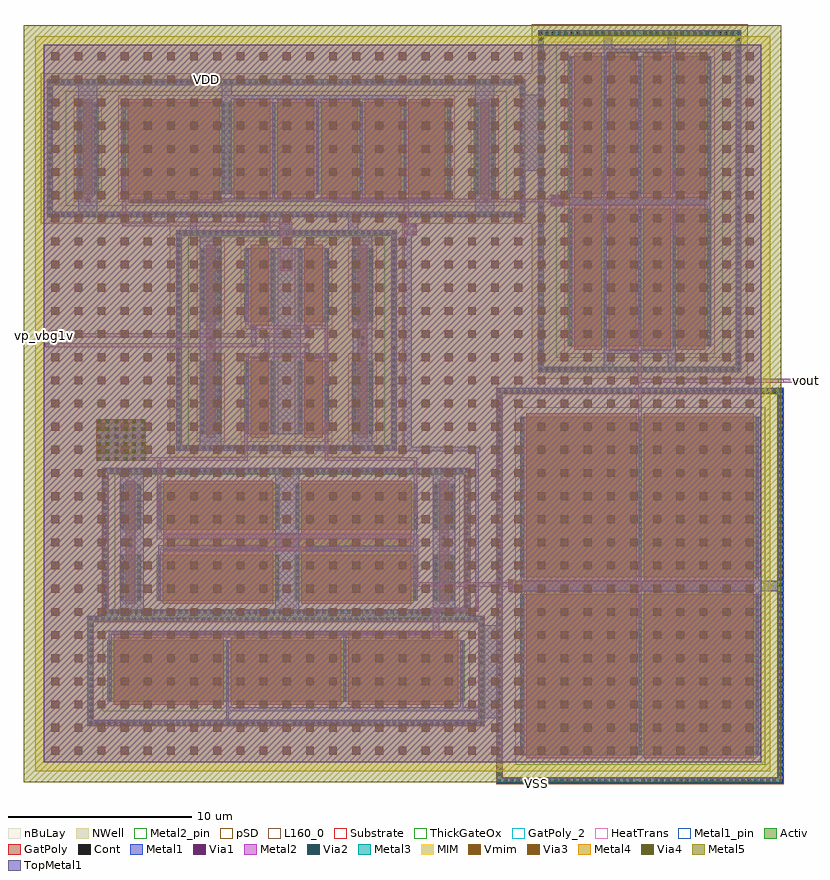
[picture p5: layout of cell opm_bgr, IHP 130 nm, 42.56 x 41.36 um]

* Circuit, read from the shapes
.subckt opm_bgr VDD VSS vn_vbg1v vout vp_vbg1v
XM1 VSS bgr_first_stage_0/bgr_current_diode_3/VbD bgr_first_stage_0/bgr_current_diode_3/VbD VSS sg13_hv_nmos w=3.33u l=6u m=3
XM2 VSS VSS VSS VSS sg13_hv_nmos w=2.5u l=0.5u m=4
XM3 VSS bgr_first_stage_0/bgr_miror_0/REF bgr_first_stage_0/bgr_miror_0/REF VSS sg13_hv_nmos w=2.5u l=6u m=2
XM4 VSS bgr_first_stage_0/bgr_miror_0/REF bgr_first_stage_0/bgr_miror_0/MIR VSS sg13_hv_nmos w=2.5u l=6u m=2
XM5 vout bgr_first_stage_0/bgr_miror_0/MIR VSS VSS sg13_hv_nmos w=8.75u l=6u m=4
XM6 VDD VDD VDD VDD sg13_hv_pmos w=5u l=0.5u m=2
XM7 VDD bgr_first_stage_0/bgr_current_diode_3/VbD bgr_first_stage_0/bgr_diff_1/D VDD sg13_hv_pmos w=5u l=5u
XM8 VDD VDD VDD VDD sg13_hv_pmos w=4u l=0.5u m=4
XM9 bgr_first_stage_0/bgr_current_diode_3/VbD bgr_first_stage_0/bgr_current_diode_3/VbD VDD VDD sg13_hv_pmos w=5u l=2u m=5
XM10 bgr_first_stage_0/bgr_diff_1/D vp_vbg1v bgr_first_stage_0/bgr_miror_0/MIR VDD sg13_hv_pmos w=4u l=1u m=2
XM11 bgr_first_stage_0/bgr_diff_1/D vn_vbg1v bgr_first_stage_0/bgr_miror_0/REF VDD sg13_hv_pmos w=4u l=1u m=2
XM12 VDD bgr_first_stage_0/bgr_current_diode_3/VbD vout VDD sg13_hv_pmos w=7.5u l=1.5u m=8
XC13 n1 bgr_first_stage_0/bgr_miror_0/MIR cap_cmim w=40u l=40u
.ends

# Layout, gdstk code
from math import pi, radians
import gdstk
lib = gdstk.Library(unit=1e-6, precision=1e-09)
def R(c, l, rs):  # rectangles x0, y0, x1, y1
    for r in rs: c.add(gdstk.rectangle(r[:2], r[2:], *l))
def A(c, l, x, y, w, h, nx, ny, dx, dy):  # array of equal rectangles
    R(c, l, [(x+i*dx, y+j*dy, x+i*dx+w, y+j*dy+h) for i in range(nx) for j in range(ny)])
def P(c, l, *ps):  # polygons
    for p in ps: c.add(gdstk.Polygon(p, *l))
Activ = (1, 0)
GatPoly = (5, 0)
GatPoly_2 = (5, 2)
Cont = (6, 0)
Metal1 = (8, 0)
Metal1_pin = (8, 2)
Metal2 = (10, 0)
Metal2_pin = (10, 2)
pSD = (14, 0)
Via1 = (19, 0)
Via2 = (29, 0)
Metal3 = (30, 0)
NWell = (31, 0)
nBuLay = (32, 0)
MIM = (36, 0)
Substrate = (40, 0)
ThickGateOx = (44, 0)
Via3 = (49, 0)
Metal4 = (50, 0)
HeatTrans = (51, 0)
Via4 = (66, 0)
Metal5 = (67, 0)
TopMetal1 = (126, 0)
Vmim = (129, 0)
L160_0 = (160, 0)

nmoshv_5 = lib.new_cell('nmosHV$5')
R(nmoshv_5, Activ, [(0,0,0.3,0.3), (0,0,6.68,2.5), (6.38,0,6.68,0.3)])
R(nmoshv_5, GatPoly, [(0.34,-0.18,6.34,2.68)])
R(nmoshv_5, GatPoly_2, [(0.34,-0.18,6.34,2.68)])
A(nmoshv_5, Cont, 0.07, 0.07, 0.16, 0.16, 1, 3, 0, 0.365)
A(nmoshv_5, Cont, 6.45, 0.07, 0.16, 0.16, 1, 3, 0, 0.365)
A(nmoshv_5, Cont, 0.07, 1.17, 0.16, 0.16, 1, 3, 0, 0.365)
A(nmoshv_5, Cont, 6.45, 1.17, 0.16, 0.16, 1, 3, 0, 0.365)
R(nmoshv_5, Cont, [(0.07,2.27,0.23,2.43), (6.45,2.27,6.61,2.43)])
R(nmoshv_5, Metal1, [(0.07,0,0.23,2.5), (6.45,0,6.61,2.5)])
R(nmoshv_5, Metal1_pin, [(0.07,0,0.23,2.5), (6.45,0,6.61,2.5)])
R(nmoshv_5, ThickGateOx, [(-0.27,-0.52,6.95,3.02)])
R(nmoshv_5, HeatTrans, [(0.34,-0.18,6.34,2.68)])
nmoshv_5.add(gdstk.Label('nmosHV', (3.34,1.25), layer=63, texttype=0))
nmoshv_5.add(gdstk.Label('nmosHV', (3.34,1.25), layer=51, texttype=0))

nmoshv_6 = lib.new_cell('nmosHV$6')
R(nmoshv_6, Activ, [(0,0,0.3,0.3), (0,0,1.18,2.5), (0.88,0,1.18,0.3)])
R(nmoshv_6, GatPoly, [(0.34,-0.18,0.84,2.68)])
R(nmoshv_6, GatPoly_2, [(0.34,-0.18,0.84,2.68)])
A(nmoshv_6, Cont, 0.07, 0.07, 0.16, 0.16, 1, 3, 0, 0.365)
A(nmoshv_6, Cont, 0.95, 0.07, 0.16, 0.16, 1, 3, 0, 0.365)
A(nmoshv_6, Cont, 0.07, 1.17, 0.16, 0.16, 1, 3, 0, 0.365)
A(nmoshv_6, Cont, 0.95, 1.17, 0.16, 0.16, 1, 3, 0, 0.365)
R(nmoshv_6, Cont, [(0.07,2.27,0.23,2.43), (0.95,2.27,1.11,2.43)])
R(nmoshv_6, Metal1, [(0.07,0,0.23,2.5), (0.95,0,1.11,2.5)])
R(nmoshv_6, Metal1_pin, [(0.07,0,0.23,2.5), (0.95,0,1.11,2.5)])
R(nmoshv_6, ThickGateOx, [(-0.27,-0.52,1.45,3.02)])
R(nmoshv_6, HeatTrans, [(0.34,-0.18,0.84,2.68)])
nmoshv_6.add(gdstk.Label('nmosHV', (0.59,1.25), layer=63, texttype=0))
nmoshv_6.add(gdstk.Label('nmosHV', (0.59,1.25), layer=51, texttype=0))

via_stack_37 = lib.new_cell('via_stack$37')
R(via_stack_37, Metal1, [(-0.105,-0.35,0.105,0.35)])
R(via_stack_37, Metal2, [(-0.1,-0.35,0.1,0.35)])
R(via_stack_37, Via1, [(-0.095,-0.3,0.095,-0.11), (-0.095,0.11,0.095,0.3)])

via_stack_50 = lib.new_cell('via_stack$50')
R(via_stack_50, GatPoly, [(-0.83,-0.15,0.83,0.15)])
A(via_stack_50, Cont, -0.76, -0.08, 0.16, 0.16, 5, 1, 0.34, 0)
R(via_stack_50, Metal1, [(-0.965,-0.105,0.965,0.105)])
R(via_stack_50, Metal2, [(-0.965,-0.1,0.965,0.1)])
A(via_stack_50, Via1, -0.915, -0.095, 0.19, 0.19, 5, 1, 0.41, 0)

guard_ring_2 = lib.new_cell('guard_ring$2')
R(guard_ring_2, Activ, [(-10,-3.7,-9.7,3.7), (9.7,-3.7,10,3.7), (-10,3.7,10,4)])
P(guard_ring_2, Activ, [(-10,-4),(-10,3.7),(-9.7,3.7),(-9.7,-3.7),(9.7,-3.7),(9.7,3.7),(-10,3.7),(-10,4),(10,4),(10,-4)])
A(guard_ring_2, Cont, -9.93, -3.93, 0.16, 0.16, 29, 2, 0.34, 7.7)
A(guard_ring_2, Cont, 0.25, -3.93, 0.16, 0.16, 29, 2, 0.34, 7.7)
A(guard_ring_2, Cont, -9.93, -3.59, 0.16, 0.16, 1, 10, 0, 0.34)
A(guard_ring_2, Cont, 9.77, -3.59, 0.16, 0.16, 1, 10, 0, 0.34)
A(guard_ring_2, Cont, -9.93, 0.03, 0.16, 0.16, 1, 11, 0, 0.34)
A(guard_ring_2, Cont, 9.77, 0.03, 0.16, 0.16, 1, 11, 0, 0.34)
R(guard_ring_2, Metal1, [(-10,-4,10,-3.7), (-10,-3.7,-9.7,3.7), (9.7,-3.7,10,3.7), (-10,3.7,10,4)])
R(guard_ring_2, pSD, [(-10.03,-3.67,-9.67,3.67), (9.67,-3.67,10.03,3.67), (-10.03,3.67,10.03,4.03)])
P(guard_ring_2, pSD, [(-10.03,-4.03),(-10.03,3.67),(-9.67,3.67),(-9.67,-3.67),(9.67,-3.67),(9.67,3.67),(-10.03,3.67),(-10.03,4.03),(10.03,4.03),(10.03,-4.03)])
R(guard_ring_2, Substrate, [(-10.03,-3.67,-9.67,3.67), (9.67,-3.67,10.03,3.67), (-10.03,3.67,10.03,4.03)])
P(guard_ring_2, Substrate, [(-10.03,-4.03),(-10.03,3.67),(-9.67,3.67),(-9.67,-3.67),(9.67,-3.67),(9.67,3.67),(-10.03,3.67),(-10.03,4.03),(10.03,4.03),(10.03,-4.03)])
guard_ring_2.add(gdstk.Label('sub!', (0,-3.85), layer=63, texttype=0))

via_stack_51 = lib.new_cell('via_stack$51')
R(via_stack_51, GatPoly, [(-0.15,-0.32,0.15,0.32)])
R(via_stack_51, Cont, [(-0.08,-0.25,0.08,-0.09), (-0.08,0.09,0.08,0.25)])
R(via_stack_51, Metal1, [(-0.08,-0.3,0.08,0.3)])

bgr_miror = lib.new_cell('bgr_miror')
R(bgr_miror, GatPoly, [(-11.805,-2.04,-11.305,0.015), (5.255,-1.79,5.755,-0.12), (-9.775,-1.445,3.735,-0.45)])
R(bgr_miror, Metal1, [(-12.105,-4.945,-10.845,3.085), (-3.675,-4.945,-2.375,3.085), (4.895,-4.92,6.13,3.08), (-10.055,-1.975,-9.895,-1.105), (-2.005,-1.445,3.995,-1.15), (-10.055,-1.385,-4.25,-1.105), (3.855,-1.33,4.015,1.1)])
P(bgr_miror, Metal1, [(-6.095,-1.105),(-6.095,-1.105),(-6.095,-1.105),(-6.095,-1.105)])
R(bgr_miror, Metal2, [(3.81,-2.89,4.1,-0.505), (-4.49,-1.445,-1.79,-1.19), (-10.13,-0.79,-9.84,1.29), (-10.13,-0.79,4.1,-0.505), (-10.065,0.98,-10.045,1.31), (-10.085,1.06,-9.885,3.485), (3.85,1.06,4.05,3.485)])
R(bgr_miror, Metal2_pin, [(3.85,3.275,4.05,3.485), (-10.085,3.32,-9.885,3.485)])
R(bgr_miror, ThickGateOx, [(-12.415,-4.645,6.365,2.75)])
R(bgr_miror, L160_0, [(-13.105,-4.945,6.955,3.115)])
bgr_miror.add(gdstk.Reference(nmoshv_5, (-2.595,-0.27)))
bgr_miror.add(gdstk.Reference(nmoshv_5, (-10.115,-0.27)))
bgr_miror.add(gdstk.Reference(nmoshv_6, (-12.145,-0.27)))
bgr_miror.add(gdstk.Reference(nmoshv_6, (4.915,-0.27)))
bgr_miror.add(gdstk.Reference(nmoshv_6, (-12.145,-4.125)))
bgr_miror.add(gdstk.Reference(nmoshv_6, (4.915,-4.125)))
bgr_miror.add(gdstk.Reference(nmoshv_5, (-10.125,-4.125)))
bgr_miror.add(gdstk.Reference(nmoshv_5, (-2.605,-4.125)))
bgr_miror.add(gdstk.Reference(via_stack_37, (3.955,-2.585)))
bgr_miror.add(gdstk.Reference(via_stack_37, (-9.985,0.96)))
bgr_miror.add(gdstk.Reference(via_stack_50, (-1.035,-1.295)))
bgr_miror.add(gdstk.Reference(via_stack_50, (-5.21,-1.295)))
bgr_miror.add(gdstk.Reference(guard_ring_2, (-3.075,-0.915)))
bgr_miror.add(gdstk.Reference(via_stack_51, (-11.575,-0.95)))
bgr_miror.add(gdstk.Reference(via_stack_51, (5.47,-0.905)))
bgr_miror.add(gdstk.Reference(via_stack_37, (3.95,0.96)))
bgr_miror.add(gdstk.Label('REF', (3.85,3.325), layer=10, texttype=2))
bgr_miror.add(gdstk.Label('MIR', (-10.085,3.365), layer=10, texttype=2))

pmoshv_8 = lib.new_cell('pmosHV$8')
R(pmoshv_8, Activ, [(0,0,0.3,0.3), (0,0,1.18,4), (0.88,0,1.18,0.3)])
R(pmoshv_8, GatPoly, [(0.34,-0.18,0.84,4.18)])
R(pmoshv_8, GatPoly_2, [(0.34,-0.18,0.84,4.18)])
A(pmoshv_8, Cont, 0.07, 0.07, 0.16, 0.16, 1, 11, 0, 0.37)
A(pmoshv_8, Cont, 0.95, 0.07, 0.16, 0.16, 1, 11, 0, 0.37)
R(pmoshv_8, Metal1, [(0.07,0,0.23,4), (0.95,0,1.11,4)])
R(pmoshv_8, Metal1_pin, [(0.07,0,0.23,4), (0.95,0,1.11,4)])
R(pmoshv_8, pSD, [(-0.18,-0.4,1.36,4.4)])
R(pmoshv_8, NWell, [(-0.62,-0.62,1.8,4.62)])
R(pmoshv_8, Substrate, [(0.88,0,1.18,0.3)])
R(pmoshv_8, ThickGateOx, [(-0.62,-0.62,1.8,4.62)])
R(pmoshv_8, HeatTrans, [(0.34,-0.18,0.84,4.18)])
pmoshv_8.add(gdstk.Label('pmosHV', (0.59,2), layer=63, texttype=0))
pmoshv_8.add(gdstk.Label('pmos', (0.59,2), layer=51, texttype=0))

pmoshv_9 = lib.new_cell('pmosHV$9')
R(pmoshv_9, Activ, [(0,0,0.3,0.3), (0,0,1.68,4), (1.38,0,1.68,0.3)])
R(pmoshv_9, GatPoly, [(0.34,-0.18,1.34,4.18)])
R(pmoshv_9, GatPoly_2, [(0.34,-0.18,1.34,4.18)])
A(pmoshv_9, Cont, 0.07, 0.07, 0.16, 0.16, 1, 11, 0, 0.37)
A(pmoshv_9, Cont, 1.45, 0.07, 0.16, 0.16, 1, 11, 0, 0.37)
R(pmoshv_9, Metal1, [(0.07,0,0.23,4), (1.45,0,1.61,4)])
R(pmoshv_9, Metal1_pin, [(0.07,0,0.23,4), (1.45,0,1.61,4)])
R(pmoshv_9, pSD, [(-0.18,-0.4,1.86,4.4)])
R(pmoshv_9, NWell, [(-0.62,-0.62,2.3,4.62)])
R(pmoshv_9, Substrate, [(1.38,0,1.68,0.3)])
R(pmoshv_9, ThickGateOx, [(-0.62,-0.62,2.3,4.62)])
R(pmoshv_9, HeatTrans, [(0.34,-0.18,1.34,4.18)])
pmoshv_9.add(gdstk.Label('pmosHV', (0.84,2), layer=63, texttype=0))
pmoshv_9.add(gdstk.Label('pmos', (0.84,2), layer=51, texttype=0))

via_stack_52 = lib.new_cell('via_stack$52')
R(via_stack_52, Metal1, [(-0.145,-0.105,0.145,0.105)])
R(via_stack_52, Metal2, [(-0.145,-0.1,0.145,0.1)])
R(via_stack_52, Via1, [(-0.095,-0.095,0.095,0.095)])

via_stack_49 = lib.new_cell('via_stack$49')
R(via_stack_49, GatPoly, [(-0.15,-0.15,0.15,0.15)])
R(via_stack_49, Cont, [(-0.08,-0.08,0.08,0.08)])
R(via_stack_49, Metal1, [(-0.13,-0.08,0.13,0.08)])

guard_ring_3 = lib.new_cell('guard_ring$3')
R(guard_ring_3, Activ, [(-6,-5.7,-5.7,5.7), (5.7,-5.7,6,5.7), (-6,5.7,6,6)])
P(guard_ring_3, Activ, [(-6,-6),(-6,5.7),(-5.7,5.7),(-5.7,-5.7),(5.7,-5.7),(5.7,5.7),(-6,5.7),(-6,6),(6,6),(6,-6)])
A(guard_ring_3, Cont, -5.93, -5.93, 0.16, 0.16, 17, 2, 0.34, 11.7)
A(guard_ring_3, Cont, -0.01, -5.93, 0.16, 0.16, 18, 2, 0.34, 11.7)
A(guard_ring_3, Cont, -5.93, -5.59, 0.16, 0.16, 1, 16, 0, 0.34)
A(guard_ring_3, Cont, 5.77, -5.59, 0.16, 0.16, 1, 16, 0, 0.34)
A(guard_ring_3, Cont, -5.93, -0.01, 0.16, 0.16, 1, 17, 0, 0.34)
A(guard_ring_3, Cont, 5.77, -0.01, 0.16, 0.16, 1, 17, 0, 0.34)
R(guard_ring_3, Metal1, [(-6,-6,6,-5.7), (-6,-5.7,-5.7,5.7), (5.7,-5.7,6,5.7), (-6,5.7,6,6)])
R(guard_ring_3, NWell, [(-6.35,-6.35,6.35,6.35)])
R(guard_ring_3, nBuLay, [(-6.35,-5.35,-5.35,5.35), (5.35,-5.35,6.35,5.35), (-6.35,5.35,6.35,6.35)])
P(guard_ring_3, nBuLay, [(-6.35,-6.35),(-6.35,5.35),(-5.35,5.35),(-5.35,-5.35),(5.35,-5.35),(5.35,5.35),(-6.35,5.35),(-6.35,6.35),(6.35,6.35),(6.35,-6.35)])
guard_ring_3.add(gdstk.Label('well', (0,-5.85), layer=63, texttype=0))

via_stack_38 = lib.new_cell('via_stack$38')
R(via_stack_38, Metal1, [(-0.35,-0.31,0.35,0.31)])
R(via_stack_38, Metal2, [(-0.35,-0.305,0.35,0.305)])
R(via_stack_38, Via1, [(-0.3,-0.3,-0.11,-0.11), (0.11,-0.3,0.3,-0.11), (-0.3,0.11,-0.11,0.3), (0.11,0.11,0.3,0.3)])

bgr_diff = lib.new_cell('bgr_diff')
R(bgr_diff, GatPoly, [(-2.22,-1.785,-1.72,0.07), (-10.48,-1.695,-9.98,0.07)])
R(bgr_diff, Metal1, [(-10.82,-6.765,-9.655,5.235), (-2.49,-6.765,-1.425,5.235), (-6.79,-5.875,-5.33,4.25), (-8.33,-2.025,-8.17,-1.46), (-4.54,-1.67,-3.87,-1.455), (-4.03,-1.67,-3.87,0.77), (-7.275,-1.65,-7.05,-0.575), (-5.12,-1.645,-4.86,-0.925), (-8.02,-1.115,-7.745,0.005), (-5.12,-0.595,-4.86,0.005)])
R(bgr_diff, Metal2, [(-8.4,-7.115,-8.2,-5.395), (-4.025,-7.115,-3.825,-5.525), (-4.03,-2.765,-3.82,-0.065), (-8.415,-1.67,-4.54,-1.46), (-12.465,-1.125,-7.05,-0.915), (-8.035,-1.125,-4.83,-0.915), (-7.29,-0.59,-4.83,-0.38), (-12.465,-0.58,-7.05,-0.37), (-8.345,-0.155,-8.145,1.595), (-8.345,-0.155,-3.82,0.065), (-6.47,3.025,-5.78,5.585)])
R(bgr_diff, Metal2_pin, [(-8.4,-7.115,-8.2,-6.865), (-4.025,-7.115,-3.825,-6.865), (-12.465,-1.085,-12.115,-0.915), (-12.465,-1.085,-12.29,-0.915), (-12.465,-0.58,-12.23,-0.37), (-6.47,5.325,-5.78,5.585)])
R(bgr_diff, NWell, [(-11.44,-6.495,-0.76,4.87)])
R(bgr_diff, ThickGateOx, [(-11.44,-6.495,-0.76,4.87)])
R(bgr_diff, L160_0, [(-12.465,-7.115,0.235,5.585)])
bgr_diff.add(gdstk.Reference(pmoshv_8, (-2.56,0.25)))
bgr_diff.add(gdstk.Reference(pmoshv_9, (-5.48,0.25)))
bgr_diff.add(gdstk.Reference(pmoshv_9, (-8.4,0.25)))
bgr_diff.add(gdstk.Reference(pmoshv_8, (-10.82,0.25)))
bgr_diff.add(gdstk.Reference(pmoshv_8, (-2.56,-5.875)))
bgr_diff.add(gdstk.Reference(pmoshv_9, (-5.48,-5.875)))
bgr_diff.add(gdstk.Reference(pmoshv_9, (-8.4,-5.875)))
bgr_diff.add(gdstk.Reference(pmoshv_8, (-10.82,-5.875)))
bgr_diff.add(gdstk.Reference(via_stack_37, (-8.245,1.245)))
bgr_diff.add(gdstk.Reference(via_stack_37, (-3.925,-2.765)))
bgr_diff.add(gdstk.Reference(via_stack_52, (-4.395,-1.57)))
bgr_diff.add(gdstk.Reference(via_stack_52, (-8.27,-1.56)))
bgr_diff.add(gdstk.Reference(via_stack_52, (-4.975,-0.49)))
bgr_diff.add(gdstk.Reference(via_stack_52, (-7.195,-0.48)))
bgr_diff.add(gdstk.Reference(via_stack_49, (-7.205,-1.57)))
bgr_diff.add(gdstk.Reference(via_stack_49, (-4.99,-0.075)))
bgr_diff.add(gdstk.Reference(via_stack_49, (-4.99,-1.565)))
bgr_diff.add(gdstk.Reference(via_stack_49, (-7.89,-0.075)))
bgr_diff.add(gdstk.Reference(via_stack_52, (-4.975,-1.025)))
bgr_diff.add(gdstk.Reference(via_stack_52, (-7.89,-1.015)))
bgr_diff.add(gdstk.Reference(guard_ring_3, (-6.115,-0.765)))
bgr_diff.add(gdstk.Reference(via_stack_51, (-10.235,-0.8)))
bgr_diff.add(gdstk.Reference(via_stack_51, (-1.955,-0.8)))
bgr_diff.add(gdstk.Reference(via_stack_37, (-3.925,-5.525)))
bgr_diff.add(gdstk.Reference(via_stack_37, (-8.3,-5.525)))
bgr_diff.add(gdstk.Reference(via_stack_38, (-6.13,3.33)))
bgr_diff.add(gdstk.Label('mir', (-8.31,-7.075), layer=10, texttype=2))
bgr_diff.add(gdstk.Label('ref', (-3.98,-7.085), layer=10, texttype=2))
bgr_diff.add(gdstk.Label('D', (-6.31,5.325), layer=10, texttype=2))
bgr_diff.add(gdstk.Label('vp_VBG', (-12.465,-0.58), layer=10, texttype=2))
bgr_diff.add(gdstk.Label('vn_VBG', (-12.465,-1.085), layer=10, texttype=2))

pmoshv_10 = lib.new_cell('pmosHV$10')
A(pmoshv_10, Activ, 0, 0, 0.3, 0.3, 6, 1, 2.38, 0)
R(pmoshv_10, Activ, [(0,0,12.2,5)])
A(pmoshv_10, GatPoly, 0.34, -0.18, 2, 5.36, 5, 1, 2.38, 0)
R(pmoshv_10, GatPoly_2, [(0.34,-0.18,2.34,5.18)])
A(pmoshv_10, Cont, 0.07, 0.07, 0.16, 0.16, 6, 4, 2.38, 0.36)
A(pmoshv_10, Cont, 0.07, 1.515, 0.16, 0.16, 6, 3, 2.38, 0.36)
A(pmoshv_10, Cont, 0.07, 2.6, 0.16, 0.16, 6, 3, 2.38, 0.36)
A(pmoshv_10, Cont, 0.07, 3.685, 0.16, 0.16, 6, 3, 2.38, 0.36)
A(pmoshv_10, Cont, 0.07, 4.77, 0.16, 0.16, 6, 1, 2.38, 0)
A(pmoshv_10, Metal1, 0.07, 0, 0.16, 5, 6, 1, 2.38, 0)
R(pmoshv_10, Metal1_pin, [(0.07,0,0.23,5), (2.45,0,2.61,5)])
R(pmoshv_10, pSD, [(-0.18,-0.4,12.38,5.4)])
R(pmoshv_10, NWell, [(-0.62,-0.62,12.82,5.62)])
R(pmoshv_10, Substrate, [(11.9,0,12.2,0.3)])
R(pmoshv_10, ThickGateOx, [(-0.62,-0.62,12.82,5.62)])
A(pmoshv_10, HeatTrans, 0.34, -0.18, 2, 5.36, 5, 1, 2.38, 0)
pmoshv_10.add(gdstk.Label('pmosHV', (1.34,2.5), layer=63, texttype=0))
pmoshv_10.add(gdstk.Label('pmos', (1.34,2.5), layer=51, texttype=0))
pmoshv_10.add(gdstk.Label('pmos', (3.72,2.5), layer=51, texttype=0))
pmoshv_10.add(gdstk.Label('pmos', (6.1,2.5), layer=51, texttype=0))
pmoshv_10.add(gdstk.Label('pmos', (8.48,2.5), layer=51, texttype=0))
pmoshv_10.add(gdstk.Label('pmos', (10.86,2.5), layer=51, texttype=0))

pmoshv_11 = lib.new_cell('pmosHV$11')
R(pmoshv_11, Activ, [(0,0,0.3,0.3), (0,0,5.68,5), (5.38,0,5.68,0.3)])
R(pmoshv_11, GatPoly, [(0.34,-0.18,5.34,5.18)])
R(pmoshv_11, GatPoly_2, [(0.34,-0.18,5.34,5.18)])
A(pmoshv_11, Cont, 0.07, 0.07, 0.16, 0.16, 1, 4, 0, 0.36)
A(pmoshv_11, Cont, 5.45, 0.07, 0.16, 0.16, 1, 4, 0, 0.36)
A(pmoshv_11, Cont, 0.07, 1.515, 0.16, 0.16, 1, 3, 0, 0.36)
A(pmoshv_11, Cont, 5.45, 1.515, 0.16, 0.16, 1, 3, 0, 0.36)
A(pmoshv_11, Cont, 0.07, 2.6, 0.16, 0.16, 1, 3, 0, 0.36)
A(pmoshv_11, Cont, 5.45, 2.6, 0.16, 0.16, 1, 3, 0, 0.36)
A(pmoshv_11, Cont, 0.07, 3.685, 0.16, 0.16, 1, 3, 0, 0.36)
A(pmoshv_11, Cont, 5.45, 3.685, 0.16, 0.16, 1, 3, 0, 0.36)
R(pmoshv_11, Cont, [(0.07,4.77,0.23,4.93), (5.45,4.77,5.61,4.93)])
R(pmoshv_11, Metal1, [(0.07,0,0.23,5), (5.45,0,5.61,5)])
R(pmoshv_11, Metal1_pin, [(0.07,0,0.23,5), (5.45,0,5.61,5)])
R(pmoshv_11, pSD, [(-0.18,-0.4,5.86,5.4)])
R(pmoshv_11, NWell, [(-0.62,-0.62,6.3,5.62)])
R(pmoshv_11, Substrate, [(5.38,0,5.68,0.3)])
R(pmoshv_11, ThickGateOx, [(-0.62,-0.62,6.3,5.62)])
R(pmoshv_11, HeatTrans, [(0.34,-0.18,5.34,5.18)])
pmoshv_11.add(gdstk.Label('pmosHV', (2.84,2.5), layer=63, texttype=0))
pmoshv_11.add(gdstk.Label('pmos', (2.84,2.5), layer=51, texttype=0))

pmoshv_12 = lib.new_cell('pmosHV$12')
R(pmoshv_12, Activ, [(0,0,0.3,0.3), (0,0,1.18,5), (0.88,0,1.18,0.3)])
R(pmoshv_12, GatPoly, [(0.34,-0.18,0.84,5.18)])
R(pmoshv_12, GatPoly_2, [(0.34,-0.18,0.84,5.18)])
A(pmoshv_12, Cont, 0.07, 0.07, 0.16, 0.16, 1, 4, 0, 0.36)
A(pmoshv_12, Cont, 0.95, 0.07, 0.16, 0.16, 1, 4, 0, 0.36)
A(pmoshv_12, Cont, 0.07, 1.515, 0.16, 0.16, 1, 3, 0, 0.36)
A(pmoshv_12, Cont, 0.95, 1.515, 0.16, 0.16, 1, 3, 0, 0.36)
A(pmoshv_12, Cont, 0.07, 2.6, 0.16, 0.16, 1, 3, 0, 0.36)
A(pmoshv_12, Cont, 0.95, 2.6, 0.16, 0.16, 1, 3, 0, 0.36)
A(pmoshv_12, Cont, 0.07, 3.685, 0.16, 0.16, 1, 3, 0, 0.36)
A(pmoshv_12, Cont, 0.95, 3.685, 0.16, 0.16, 1, 3, 0, 0.36)
R(pmoshv_12, Cont, [(0.07,4.77,0.23,4.93), (0.95,4.77,1.11,4.93)])
R(pmoshv_12, Metal1, [(0.07,0,0.23,5), (0.95,0,1.11,5)])
R(pmoshv_12, Metal1_pin, [(0.07,0,0.23,5), (0.95,0,1.11,5)])
R(pmoshv_12, pSD, [(-0.18,-0.4,1.36,5.4)])
R(pmoshv_12, NWell, [(-0.62,-0.62,1.8,5.62)])
R(pmoshv_12, Substrate, [(0.88,0,1.18,0.3)])
R(pmoshv_12, ThickGateOx, [(-0.62,-0.62,1.8,5.62)])
R(pmoshv_12, HeatTrans, [(0.34,-0.18,0.84,5.18)])
pmoshv_12.add(gdstk.Label('pmosHV', (0.59,2.5), layer=63, texttype=0))
pmoshv_12.add(gdstk.Label('pmos', (0.59,2.5), layer=51, texttype=0))

via_stack_53 = lib.new_cell('via_stack$53')
R(via_stack_53, GatPoly, [(-2.53,-0.15,2.53,0.15)])
A(via_stack_53, Cont, -2.46, -0.08, 0.16, 0.16, 15, 1, 0.34, 0)
R(via_stack_53, Metal1, [(-3.015,-0.105,3.015,0.105)])
R(via_stack_53, Metal2, [(-3.015,-0.1,3.015,0.1)])
A(via_stack_53, Via1, -2.965, -0.095, 0.19, 0.19, 15, 1, 0.41, 0)

guard_ring_4 = lib.new_cell('guard_ring$4')
R(guard_ring_4, Activ, [(-13,-3.45,-12.7,3.45), (12.7,-3.45,13,3.45), (-13,3.45,13,3.75)])
P(guard_ring_4, Activ, [(-13,-3.75),(-13,3.45),(-12.7,3.45),(-12.7,-3.45),(12.7,-3.45),(12.7,3.45),(-13,3.45),(-13,3.75),(13,3.75),(13,-3.75)])
A(guard_ring_4, Cont, -12.93, -3.68, 0.16, 0.16, 38, 2, 0.34, 7.2)
A(guard_ring_4, Cont, 0.19, -3.68, 0.16, 0.16, 38, 2, 0.34, 7.2)
A(guard_ring_4, Cont, -12.93, -3.34, 0.16, 0.16, 1, 10, 0, 0.34)
A(guard_ring_4, Cont, 12.77, -3.34, 0.16, 0.16, 1, 10, 0, 0.34)
A(guard_ring_4, Cont, -12.93, 0.12, 0.16, 0.16, 1, 10, 0, 0.34)
A(guard_ring_4, Cont, 12.77, 0.12, 0.16, 0.16, 1, 10, 0, 0.34)
R(guard_ring_4, Metal1, [(-13,-3.75,13,-3.45), (-13,-3.45,-12.7,3.45), (12.7,-3.45,13,3.45), (-13,3.45,13,3.75)])
R(guard_ring_4, NWell, [(-13.35,-4.1,13.35,4.1)])
R(guard_ring_4, nBuLay, [(-13.35,-3.1,-12.35,3.1), (12.35,-3.1,13.35,3.1), (-13.35,3.1,13.35,4.1)])
P(guard_ring_4, nBuLay, [(-13.35,-4.1),(-13.35,3.1),(-12.35,3.1),(-12.35,-3.1),(12.35,-3.1),(12.35,3.1),(-13.35,3.1),(-13.35,4.1),(13.35,4.1),(13.35,-4.1)])
guard_ring_4.add(gdstk.Label('well', (0,-3.6), layer=63, texttype=0))

via_stack_54 = lib.new_cell('via_stack$54')
R(via_stack_54, GatPoly, [(-2.53,-0.15,2.53,0.15)])
A(via_stack_54, Cont, -2.46, -0.08, 0.16, 0.16, 15, 1, 0.34, 0)
R(via_stack_54, Metal1, [(-2.51,-0.08,2.51,0.08)])

via_stack_47 = lib.new_cell('via_stack$47')
R(via_stack_47, Metal1, [(-0.105,-0.555,0.105,0.555)])
R(via_stack_47, Metal2, [(-0.1,-0.555,0.1,0.555)])
A(via_stack_47, Via1, -0.095, -0.505, 0.19, 0.19, 1, 3, 0, 0.41)

bgr_bias = lib.new_cell('bgr_bias')
R(bgr_bias, Activ, [(3.21,-2.5,3.29,2.5)])
R(bgr_bias, GatPoly, [(-8.65,-2.9,8.63,-2.68)])
A(bgr_bias, Metal1, -8.92, -2.9, 0.16, 0.4, 3, 1, 4.76, 0)
A(bgr_bias, Metal1, -6.54, 2.5, 0.16, 0.4, 3, 1, 4.76, 0)
R(bgr_bias, Metal1, [(-11.32,-3.5,-10.28,3.5), (10.28,-3.5,11.32,3.5), (-8.92,-2.9,3.67,-2.68), (2.98,-2.5,3.52,3.75), (-6.54,2.68,3.14,2.9)])
R(bgr_bias, Metal1_pin, [(-2.655,3.45,1.09,3.75)])
R(bgr_bias, Metal2, [(8.72,-4.1,8.92,-2.535), (-13.35,-2.94,-8.405,-2.74)])
R(bgr_bias, Metal2_pin, [(8.72,-4.1,8.92,-3.855), (-13.35,-2.94,-13.085,-2.74)])
R(bgr_bias, L160_0, [(-13.35,-4.1,13.35,4.1)])
bgr_bias.add(gdstk.Reference(pmoshv_10, (-8.99,-2.5)))
bgr_bias.add(gdstk.Reference(pmoshv_11, (3.29,-2.5)))
bgr_bias.add(gdstk.Reference(pmoshv_12, (-11.39,-2.5)))
bgr_bias.add(gdstk.Reference(via_stack_53, (-5.535,-2.84)))
bgr_bias.add(gdstk.Reference(pmoshv_12, (10.21,-2.5)))
bgr_bias.add(gdstk.Reference(guard_ring_4, (0,0)))
bgr_bias.add(gdstk.Reference(via_stack_49, (-10.85,-2.82)))
bgr_bias.add(gdstk.Reference(via_stack_49, (10.78,-2.815)))
bgr_bias.add(gdstk.Reference(via_stack_54, (5.995,-2.84)))
bgr_bias.add(gdstk.Reference(via_stack_47, (8.82,-1.98)))
bgr_bias.add(gdstk.Label('VDD', (-0.783,3.75), layer=8, texttype=2))
bgr_bias.add(gdstk.Label('VbD', (8.82,-4.1), layer=10, texttype=2))
bgr_bias.add(gdstk.Label('VbR', (-13.35,-2.84), layer=10, texttype=2))

nmoshv_7 = lib.new_cell('nmosHV$7')
A(nmoshv_7, Activ, 0, 0, 0.3, 0.3, 4, 1, 6.38, 0)
R(nmoshv_7, Activ, [(-1.07,-1.02,-0.77,4.35), (20.21,-1.02,20.51,4.35), (0,0,19.44,3.33), (-1.07,4.35,20.51,4.65)])
P(nmoshv_7, Activ, [(-1.07,-1.32),(-1.07,4.35),(-0.77,4.35),(-0.77,-1.02),(20.21,-1.02),(20.21,4.35),(-1.07,4.35),(-1.07,4.65),(20.51,4.65),(20.51,-1.32)])
A(nmoshv_7, GatPoly, 0.34, -0.18, 6, 3.69, 3, 1, 6.38, 0)
R(nmoshv_7, GatPoly_2, [(0.34,-0.18,6.34,3.51)])
A(nmoshv_7, Cont, -1, -1.25, 0.16, 0.16, 31, 2, 0.34, 5.67)
A(nmoshv_7, Cont, 9.74, -1.25, 0.16, 0.16, 32, 2, 0.34, 5.67)
A(nmoshv_7, Cont, -1, -0.91, 0.16, 0.16, 1, 7, 0, 0.34)
A(nmoshv_7, Cont, 20.28, -0.91, 0.16, 0.16, 1, 7, 0, 0.34)
A(nmoshv_7, Cont, 0.07, 0.07, 0.16, 0.16, 4, 2, 6.38, 0.375)
A(nmoshv_7, Cont, 0.07, 0.825, 0.16, 0.16, 4, 3, 6.38, 0.38)
A(nmoshv_7, Cont, -1, 1.7, 0.16, 0.16, 1, 8, 0, 0.34)
A(nmoshv_7, Cont, 20.28, 1.7, 0.16, 0.16, 1, 8, 0, 0.34)
A(nmoshv_7, Cont, 0.07, 1.96, 0.16, 0.16, 4, 4, 6.38, 0.38)
A(nmoshv_7, Metal1, 0.07, 0, 0.16, 3.33, 4, 1, 6.38, 0)
R(nmoshv_7, Metal1, [(-1.07,-1.32,20.51,-1.02), (-1.07,-1.02,-0.77,4.35), (20.21,-1.02,20.51,4.35), (-1.07,4.35,20.51,4.65)])
R(nmoshv_7, Metal1_pin, [(0.07,0,0.23,3.33), (6.45,0,6.61,3.33)])
R(nmoshv_7, pSD, [(-1.1,-0.99,-0.74,4.32), (20.18,-0.99,20.54,4.32), (-1.1,4.32,20.54,4.68)])
P(nmoshv_7, pSD, [(-1.1,-1.35),(-1.1,4.32),(-0.74,4.32),(-0.74,-0.99),(20.18,-0.99),(20.18,4.32),(-1.1,4.32),(-1.1,4.68),(20.54,4.68),(20.54,-1.35)])
R(nmoshv_7, Substrate, [(-1.1,-0.99,-0.74,4.32), (20.18,-0.99,20.54,4.32), (-1.1,4.32,20.54,4.68)])
P(nmoshv_7, Substrate, [(-1.1,-1.35),(-1.1,4.32),(-0.74,4.32),(-0.74,-0.99),(20.18,-0.99),(20.18,4.32),(-1.1,4.32),(-1.1,4.68),(20.54,4.68),(20.54,-1.35)])
R(nmoshv_7, ThickGateOx, [(-0.27,-0.52,19.71,3.85)])
A(nmoshv_7, HeatTrans, 0.34, -0.18, 6, 3.69, 3, 1, 6.38, 0)
nmoshv_7.add(gdstk.Label('nmosHV', (3.34,1.665), layer=63, texttype=0))
nmoshv_7.add(gdstk.Label('sub!', (9.72,-1.17), layer=63, texttype=0))
nmoshv_7.add(gdstk.Label('nmosHV', (3.34,1.665), layer=51, texttype=0))
nmoshv_7.add(gdstk.Label('nmosHV', (9.72,1.665), layer=51, texttype=0))
nmoshv_7.add(gdstk.Label('nmosHV', (16.1,1.665), layer=51, texttype=0))

via_stack_55 = lib.new_cell('via_stack$55')
R(via_stack_55, GatPoly, [(-6.78,-0.15,6.78,0.15)])
A(via_stack_55, Cont, -6.71, -0.08, 0.16, 0.16, 40, 1, 0.34, 0)
R(via_stack_55, Metal1, [(-8.14,-0.105,8.14,0.105)])
R(via_stack_55, Metal2, [(-8.14,-0.1,8.14,0.1)])
A(via_stack_55, Via1, -8.09, -0.095, 0.19, 0.19, 40, 1, 0.41, 0)

bgr_current_diode = lib.new_cell('bgr_current_diode')
R(bgr_current_diode, GatPoly, [(-9.38,-2.185,9.38,-1.845)])
R(bgr_current_diode, Metal1, [(-3.27,-2.185,9.65,-1.965), (-3.27,-2.185,-3.11,-1.665), (9.49,-2.185,9.65,-1.665), (-9.65,1.665,-9.49,2.185), (3.11,1.665,3.27,2.185), (3.11,1.925,3.27,2.835), (-10.64,1.965,-9.65,2.185), (-9.65,1.965,3.27,2.185)])
R(bgr_current_diode, Metal2, [(-8.325,-3.445,-7.98,-1.945)])
R(bgr_current_diode, Metal2_pin, [(-8.325,-3.445,-7.98,-3.125)])
R(bgr_current_diode, L160_0, [(-10.79,-2.985,10.79,2.985)])
bgr_current_diode.add(gdstk.Reference(nmoshv_7, (-9.72,-1.665)))
bgr_current_diode.add(gdstk.Reference(via_stack_55, (-0.445,-2.045)))
bgr_current_diode.add(gdstk.Label('VbD', (-8.153,-3.445), layer=10, texttype=0))

bgr_first_stage = lib.new_cell('bgr_first_stage')
R(bgr_first_stage, Activ, [(-9.685,-8.69,10.315,-8.63)])
R(bgr_first_stage, Metal1, [(-9.685,-8.69,10.315,-8.63), (10.59,-8.23,10.8,0.545), (6.715,0.29,10.87,0.545), (6.715,0.29,7.155,12.67), (-4.915,12.02,-4.57,13.32), (-0.92,12.02,-0.555,13.32), (3.7,12.02,4.24,13.32)])
R(bgr_first_stage, Metal2, [(8.285,-8.445,10.79,-8.23), (-6.695,-0.23,-1.77,-0.03), (2.405,-0.23,7.44,-0.03), (6.71,12.45,6.985,13.975), (-8.605,12.535,0.65,12.785)])
bgr_first_stage.add(gdstk.Reference(bgr_miror, (3.39,-3.715)))
bgr_first_stage.add(gdstk.Reference(bgr_diff, (6.43,7.085)))
bgr_first_stage.add(gdstk.Reference(bgr_bias, (0.315,16.77), rotation=pi, x_reflection=True))
bgr_first_stage.add(gdstk.Reference(bgr_current_diode, (0.305,-11.675), rotation=pi))
bgr_first_stage.add(gdstk.Reference(via_stack_37, (10.695,-8.045)))
bgr_first_stage.add(gdstk.Reference(via_stack_38, (7.06,12.365)))

pmoshv_14 = lib.new_cell('pmosHV$14')
A(pmoshv_14, Activ, 0, 0, 0.3, 0.3, 5, 1, 1.88, 0)
R(pmoshv_14, Activ, [(0,0,7.82,7.5)])
A(pmoshv_14, GatPoly, 0.34, -0.18, 1.5, 7.86, 4, 1, 1.88, 0)
R(pmoshv_14, GatPoly_2, [(0.34,-0.18,1.84,7.68)])
A(pmoshv_14, Cont, 0.07, 0.07, 0.16, 0.16, 5, 2, 1.88, 0.34)
A(pmoshv_14, Cont, 0.07, 0.755, 0.16, 0.16, 5, 2, 1.88, 0.34)
A(pmoshv_14, Cont, 0.07, 1.44, 0.16, 0.16, 5, 2, 1.88, 0.34)
A(pmoshv_14, Cont, 0.07, 2.125, 0.16, 0.16, 5, 2, 1.88, 0.345)
A(pmoshv_14, Cont, 0.07, 2.81, 0.16, 0.16, 5, 2, 1.88, 0.345)
A(pmoshv_14, Cont, 0.07, 3.495, 0.16, 0.16, 5, 2, 1.88, 0.345)
A(pmoshv_14, Cont, 0.07, 4.18, 0.16, 0.16, 5, 3, 1.88, 0.345)
A(pmoshv_14, Cont, 0.07, 5.21, 0.16, 0.16, 5, 2, 1.88, 0.345)
A(pmoshv_14, Cont, 0.07, 5.895, 0.16, 0.16, 5, 2, 1.88, 0.345)
A(pmoshv_14, Cont, 0.07, 6.58, 0.16, 0.16, 5, 3, 1.88, 0.345)
A(pmoshv_14, Metal1, 0.07, 0, 0.16, 7.5, 5, 1, 1.88, 0)
R(pmoshv_14, Metal1_pin, [(0.07,0,0.23,7.5), (1.95,0,2.11,7.5)])
R(pmoshv_14, pSD, [(-0.18,-0.4,8,7.9)])
R(pmoshv_14, NWell, [(-0.62,-0.62,8.44,8.12)])
R(pmoshv_14, Substrate, [(7.52,0,7.82,0.3)])
R(pmoshv_14, ThickGateOx, [(-0.62,-0.62,8.44,8.12)])
A(pmoshv_14, HeatTrans, 0.34, -0.18, 1.5, 7.86, 4, 1, 1.88, 0)
pmoshv_14.add(gdstk.Label('pmosHV', (1.09,3.75), layer=63, texttype=0))
pmoshv_14.add(gdstk.Label('pmos', (1.09,3.75), layer=51, texttype=0))
pmoshv_14.add(gdstk.Label('pmos', (2.97,3.75), layer=51, texttype=0))
pmoshv_14.add(gdstk.Label('pmos', (4.85,3.75), layer=51, texttype=0))
pmoshv_14.add(gdstk.Label('pmos', (6.73,3.75), layer=51, texttype=0))

guard_ring_7 = lib.new_cell('guard_ring$7')
R(guard_ring_7, Activ, [(-5.53,-9,-5.23,9), (5.23,-9,5.53,9), (-5.53,9,5.53,9.3)])
P(guard_ring_7, Activ, [(-5.53,-9.3),(-5.53,9),(-5.23,9),(-5.23,-9),(5.23,-9),(5.23,9),(-5.53,9),(-5.53,9.3),(5.53,9.3),(5.53,-9.3)])
A(guard_ring_7, Cont, -5.46, -9.23, 0.16, 0.16, 16, 2, 0.34, 18.3)
A(guard_ring_7, Cont, 0.2, -9.23, 0.16, 0.16, 16, 2, 0.34, 18.3)
A(guard_ring_7, Cont, -5.46, -8.89, 0.16, 0.16, 1, 26, 0, 0.34)
A(guard_ring_7, Cont, 5.3, -8.89, 0.16, 0.16, 1, 26, 0, 0.34)
A(guard_ring_7, Cont, -5.46, 0.23, 0.16, 0.16, 1, 26, 0, 0.34)
A(guard_ring_7, Cont, 5.3, 0.23, 0.16, 0.16, 1, 26, 0, 0.34)
R(guard_ring_7, Metal1, [(-5.53,-9.3,5.53,-9), (-5.53,-9,-5.23,9), (5.23,-9,5.53,9), (-5.53,9,5.53,9.3)])
R(guard_ring_7, NWell, [(-5.88,-9.65,5.88,9.65)])
R(guard_ring_7, nBuLay, [(-5.88,-8.65,-4.88,8.65), (4.88,-8.65,5.88,8.65), (-5.88,8.65,5.88,9.65)])
P(guard_ring_7, nBuLay, [(-5.88,-9.65),(-5.88,8.65),(-4.88,8.65),(-4.88,-8.65),(4.88,-8.65),(4.88,8.65),(-5.88,8.65),(-5.88,9.65),(5.88,9.65),(5.88,-9.65)])
guard_ring_7.add(gdstk.Label('well', (0,-9.15), layer=63, texttype=0))

via_stack_56 = lib.new_cell('via_stack$56')
R(via_stack_56, GatPoly, [(-0.32,-0.32,0.32,0.32)])
R(via_stack_56, Cont, [(-0.25,-0.25,-0.09,-0.09), (0.09,-0.25,0.25,-0.09), (-0.25,0.09,-0.09,0.25), (0.09,0.09,0.25,0.25)])
R(via_stack_56, Metal1, [(-0.35,-0.31,0.35,0.31)])
R(via_stack_56, Metal2, [(-0.35,-0.305,0.35,0.305)])
R(via_stack_56, Via1, [(-0.3,-0.3,-0.11,-0.11), (0.11,-0.3,0.3,-0.11), (-0.3,0.11,-0.11,0.3), (0.11,0.11,0.3,0.3)])

bgr_second_stage_al = lib.new_cell('bgr_second_stage_al')
R(bgr_second_stage_al, GatPoly, [(-4.53,-0.22,3.57,0.22)])
A(bgr_second_stage_al, Metal1, -3.84, -0.4, 0.16, 0.4, 3, 2, 3.76, 0.4)
R(bgr_second_stage_al, Metal1, [(-1.96,-9,-1.425,-8.3), (1.525,-9,1.96,-8.3), (-1.96,-8.3,-1.8,-7.9), (-1.96,-8.3,1.96,-8.105), (1.8,-8.3,1.96,-7.9), (-3.84,-0.22,3.84,0), (-3.84,0,3.84,0.22), (-1.96,7.9,-1.8,8.3), (1.8,7.9,1.96,8.3), (-1.96,8.105,1.96,8.3), (-1.96,8.3,-1.48,9.3), (1.53,8.3,1.96,9.3)])
R(bgr_second_stage_al, Metal1_pin, [(-0.63,9,0.805,9.3)])
R(bgr_second_stage_al, Metal2, [(-0.095,-9.65,0.105,-7.8), (1.785,-0.6,1.985,0.53), (-1.99,-0.56,-1.79,0.53), (-5.88,-0.06,-4.69,0.14)])
R(bgr_second_stage_al, Metal2_pin, [(-0.095,-9.65,0.105,-9.445), (-5.88,-0.06,-5.67,0.14)])
R(bgr_second_stage_al, L160_0, [(-5.88,-9.65,5.88,9.65)])
bgr_second_stage_al.add(gdstk.Reference(pmoshv_14, (-3.91,-0.4), x_reflection=True))
bgr_second_stage_al.add(gdstk.Reference(via_stack_47, (-1.89,1.085)))
bgr_second_stage_al.add(gdstk.Reference(via_stack_47, (1.885,1.085)))
bgr_second_stage_al.add(gdstk.Reference(via_stack_47, (1.885,-1.155)))
bgr_second_stage_al.add(gdstk.Reference(via_stack_47, (-1.89,-1.115)))
bgr_second_stage_al.add(gdstk.Reference(pmoshv_14, (-3.91,0.4)))
bgr_second_stage_al.add(gdstk.Reference(guard_ring_7, (0,0)))
bgr_second_stage_al.add(gdstk.Reference(via_stack_56, (-4.485,0.04)))
bgr_second_stage_al.add(gdstk.Reference(via_stack_47, (0.005,-7.245)))
bgr_second_stage_al.add(gdstk.Label('VDD', (0.088,9.3), layer=8, texttype=2))
bgr_second_stage_al.add(gdstk.Label('Vout_opm', (0.005,-9.65), layer=10, texttype=2))
bgr_second_stage_al.add(gdstk.Label('Vbias', (-5.88,0.045), layer=10, texttype=2))

nmoshv_8 = lib.new_cell('nmosHV$8')
A(nmoshv_8, Activ, 0, 0, 0.3, 0.3, 3, 1, 6.38, 0)
R(nmoshv_8, Activ, [(0,0,13.06,8.75)])
R(nmoshv_8, GatPoly, [(0.34,-0.18,6.34,8.93), (6.72,-0.18,12.72,8.93)])
R(nmoshv_8, GatPoly_2, [(0.34,-0.18,6.34,8.93)])
A(nmoshv_8, Cont, 0.07, 0.07, 0.16, 0.16, 3, 3, 6.38, 0.35)
A(nmoshv_8, Cont, 0.07, 1.125, 0.16, 0.16, 3, 2, 6.38, 0.35)
A(nmoshv_8, Cont, 0.07, 1.83, 0.16, 0.16, 3, 3, 6.38, 0.35)
A(nmoshv_8, Cont, 0.07, 2.885, 0.16, 0.16, 3, 2, 6.38, 0.35)
A(nmoshv_8, Cont, 0.07, 3.59, 0.16, 0.16, 3, 2, 6.38, 0.35)
A(nmoshv_8, Cont, 0.07, 4.295, 0.16, 0.16, 3, 3, 6.38, 0.35)
A(nmoshv_8, Cont, 0.07, 5.35, 0.16, 0.16, 3, 2, 6.38, 0.35)
A(nmoshv_8, Cont, 0.07, 6.055, 0.16, 0.16, 3, 3, 6.38, 0.35)
A(nmoshv_8, Cont, 0.07, 7.11, 0.16, 0.16, 3, 2, 6.38, 0.35)
A(nmoshv_8, Cont, 0.07, 7.815, 0.16, 0.16, 3, 2, 6.38, 0.35)
A(nmoshv_8, Cont, 0.07, 8.52, 0.16, 0.16, 3, 1, 6.38, 0)
A(nmoshv_8, Metal1, 0.07, 0, 0.16, 8.75, 3, 1, 6.38, 0)
R(nmoshv_8, Metal1_pin, [(0.07,0,0.23,8.75), (6.45,0,6.61,8.75)])
R(nmoshv_8, ThickGateOx, [(-0.27,-0.52,13.33,9.27)])
R(nmoshv_8, HeatTrans, [(0.34,-0.18,6.34,8.93), (6.72,-0.18,12.72,8.93)])
nmoshv_8.add(gdstk.Label('nmosHV', (3.34,4.375), layer=63, texttype=0))
nmoshv_8.add(gdstk.Label('nmosHV', (3.34,4.375), layer=51, texttype=0))
nmoshv_8.add(gdstk.Label('nmosHV', (9.72,4.375), layer=51, texttype=0))

guard_ring_8 = lib.new_cell('guard_ring$8')
R(guard_ring_8, Activ, [(-7.8,-10.45,-7.5,10.45), (7.5,-10.45,7.8,10.45), (-7.8,10.45,7.8,10.75)])
P(guard_ring_8, Activ, [(-7.8,-10.75),(-7.8,10.45),(-7.5,10.45),(-7.5,-10.45),(7.5,-10.45),(7.5,10.45),(-7.8,10.45),(-7.8,10.75),(7.8,10.75),(7.8,-10.75)])
A(guard_ring_8, Cont, -7.73, -10.68, 0.16, 0.16, 22, 2, 0.34, 21.2)
A(guard_ring_8, Cont, 0.09, -10.68, 0.16, 0.16, 23, 2, 0.34, 21.2)
A(guard_ring_8, Cont, -7.73, -10.34, 0.16, 0.16, 1, 30, 0, 0.34)
A(guard_ring_8, Cont, 7.57, -10.34, 0.16, 0.16, 1, 30, 0, 0.34)
A(guard_ring_8, Cont, -7.73, -0.02, 0.16, 0.16, 1, 31, 0, 0.34)
A(guard_ring_8, Cont, 7.57, -0.02, 0.16, 0.16, 1, 31, 0, 0.34)
R(guard_ring_8, Metal1, [(-7.8,-10.75,7.8,-10.45), (-7.8,-10.45,-7.5,10.45), (7.5,-10.45,7.8,10.45), (-7.8,10.45,7.8,10.75)])
R(guard_ring_8, pSD, [(-7.83,-10.42,-7.47,10.42), (7.47,-10.42,7.83,10.42), (-7.83,10.42,7.83,10.78)])
P(guard_ring_8, pSD, [(-7.83,-10.78),(-7.83,10.42),(-7.47,10.42),(-7.47,-10.42),(7.47,-10.42),(7.47,10.42),(-7.83,10.42),(-7.83,10.78),(7.83,10.78),(7.83,-10.78)])
R(guard_ring_8, Substrate, [(-7.83,-10.42,-7.47,10.42), (7.47,-10.42,7.83,10.42), (-7.83,10.42,7.83,10.78)])
P(guard_ring_8, Substrate, [(-7.83,-10.78),(-7.83,10.42),(-7.47,10.42),(-7.47,-10.42),(7.47,-10.42),(7.47,10.42),(-7.83,10.42),(-7.83,10.78),(7.83,10.78),(7.83,-10.78)])
guard_ring_8.add(gdstk.Label('sub!', (0,-10.6), layer=63, texttype=0))

via_stack_57 = lib.new_cell('via_stack$57')
R(via_stack_57, GatPoly, [(-0.15,-0.32,0.15,0.32)])
R(via_stack_57, Cont, [(-0.08,-0.25,0.08,-0.09), (-0.08,0.09,0.08,0.25)])
R(via_stack_57, Metal1, [(-0.105,-0.35,0.105,0.35)])
R(via_stack_57, Metal2, [(-0.1,-0.35,0.1,0.35)])
R(via_stack_57, Via1, [(-0.095,-0.3,0.095,-0.11), (-0.095,0.11,0.095,0.3)])

bgr_second_stage_cs = lib.new_cell('bgr_second_stage_cs')
R(bgr_second_stage_cs, GatPoly, [(-6.88,-0.28,6.19,0.28)])
R(bgr_second_stage_cs, Metal1, [(-6.46,-0.46,-6.3,0), (6.3,-0.46,6.46,0), (-6.46,-0.28,6.46,0), (6.46,-0.28,7.615,0.28), (-6.46,0,6.46,0.28), (-6.46,0,-6.3,0.46), (6.3,0,6.46,0.46)])
R(bgr_second_stage_cs, Metal1_pin, [(-1.59,-10.75,1.41,-10.45)])
R(bgr_second_stage_cs, Metal2, [(-0.105,-0.56,0.095,0.56), (-8.115,-0.055,-7.12,0.21), (-0.105,9.14,0.095,11.045)])
R(bgr_second_stage_cs, Metal2_pin, [(-8.115,-0.055,-7.895,0.21), (-0.105,10.825,0.095,11.045)])
R(bgr_second_stage_cs, L160_0, [(-7.8,-10.75,7.8,10.75)])
bgr_second_stage_cs.add(gdstk.Reference(via_stack_47, (-0.005,1.115)))
bgr_second_stage_cs.add(gdstk.Reference(nmoshv_8, (-6.53,-0.46), x_reflection=True))
bgr_second_stage_cs.add(gdstk.Reference(via_stack_47, (-0.005,-1.115), x_reflection=True))
bgr_second_stage_cs.add(gdstk.Reference(nmoshv_8, (-6.53,0.46)))
bgr_second_stage_cs.add(gdstk.Reference(guard_ring_8, (0,0)))
bgr_second_stage_cs.add(gdstk.Reference(via_stack_57, (-7.025,0.005)))
bgr_second_stage_cs.add(gdstk.Reference(via_stack_47, (-0.005,8.585)))
bgr_second_stage_cs.add(gdstk.Label('VSS', (0.09,-10.75), layer=8, texttype=2))
bgr_second_stage_cs.add(gdstk.Label('Vos1', (-8.115,0.078), layer=10, texttype=2))
bgr_second_stage_cs.add(gdstk.Label('vout_opm', (-0.005,11.045), layer=10, texttype=2))

bgr_second_stage = lib.new_cell('bgr_second_stage')
R(bgr_second_stage, Metal2, [(-0.095,0.245,7.855,0.48)])
R(bgr_second_stage, Metal2_pin, [(7.545,0.245,7.855,0.48)])
bgr_second_stage.add(gdstk.Reference(bgr_second_stage_al, (0,10.13)))
bgr_second_stage.add(gdstk.Reference(bgr_second_stage_cs, (0.025,-10.8)))
bgr_second_stage.add(gdstk.Label('vout_opm', (7.855,0.363), layer=10, texttype=2))

cmim_1 = lib.new_cell('cmim$1')
R(cmim_1, MIM, [(0,0,40,40)])
R(cmim_1, Metal5, [(-0.6,-0.6,40.6,40.6)])
R(cmim_1, TopMetal1, [(0.47,0.47,39.53,39.53)])
A(cmim_1, Vmim, 0.89, 0.89, 0.42, 0.42, 31, 31, 1.26, 1.26)

opm_miller_cap = lib.new_cell('opm_miller_cap')
opm_miller_cap.add(gdstk.Reference(cmim_1, (-1.995,-1.965)))

via_stack_58 = lib.new_cell('via_stack$58')
R(via_stack_58, Metal1, [(-1.345,-1.13,1.345,1.13)])
R(via_stack_58, Metal2, [(-1.345,-1.125,1.345,1.125)])
A(via_stack_58, Via1, -1.295, -1.12, 0.19, 0.19, 6, 6, 0.48, 0.41)
A(via_stack_58, Via2, -1.295, -1.12, 0.19, 0.19, 6, 6, 0.48, 0.41)
R(via_stack_58, Metal3, [(-1.345,-1.125,1.345,1.125)])
A(via_stack_58, Via3, -1.295, -1.12, 0.19, 0.19, 6, 6, 0.48, 0.41)
R(via_stack_58, Metal4, [(-1.345,-1.125,1.345,1.125)])
A(via_stack_58, Via4, -1.295, -1.12, 0.19, 0.19, 6, 6, 0.48, 0.41)
R(via_stack_58, Metal5, [(-1.345,-1.125,1.345,1.125)])

opm_bgr = lib.new_cell('opm_bgr')
R(opm_bgr, Metal1, [(-3.03,-17.53,-2.055,-12.47), (-14.055,8.8,-13.47,9.9), (-0.81,12.27,0.27,16.4)])
R(opm_bgr, Metal1_pin, [(-1.015,-21.08,1.245,-20.78), (-18.635,16.93,-17.24,17.23)])
R(opm_bgr, Metal2, [(-6.775,-10.385,-2.52,-10.12), (-6.775,-10.385,-6.485,-9.895), (-22.55,-3.52,-20.67,-3.32), (13.425,0.715,14.625,0.95), (-26.815,2.67,-20.01,2.88), (-26.815,3.215,-20.01,3.425)])
R(opm_bgr, Metal2_pin, [(14.345,0.715,14.625,0.95), (-26.815,2.67,-26.585,2.88), (-26.815,3.215,-26.575,3.425)])
opm_bgr.add(gdstk.Reference(bgr_first_stage, (-13.975,-3.29)))
opm_bgr.add(gdstk.Reference(bgr_second_stage, (5.57,0.47)))
opm_bgr.add(gdstk.Reference(opm_miller_cap, (-25.34,-18.44)))
opm_bgr.add(gdstk.Reference(via_stack_58, (-22.66,-2.4)))
opm_bgr.add(gdstk.Label('VDD', (-18.025,17.23), layer=8, texttype=2))
opm_bgr.add(gdstk.Label('VSS', (-0.035,-21.08), layer=8, texttype=2))
opm_bgr.add(gdstk.Label('vp_vbg1v', (-26.815,3.32), layer=10, texttype=2))
opm_bgr.add(gdstk.Label('vn_vbg1v', (-26.815,2.76), layer=10, texttype=2))
opm_bgr.add(gdstk.Label('vout', (14.625,0.833), layer=10, texttype=2))

lib.write_gds('opm_bgr.gds')
